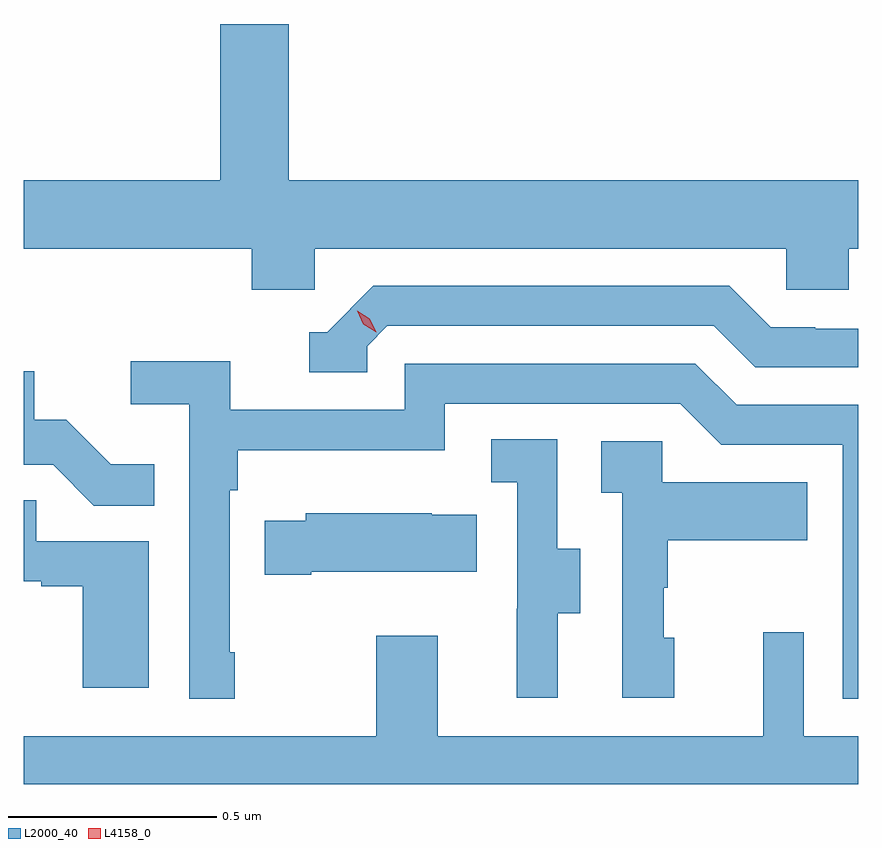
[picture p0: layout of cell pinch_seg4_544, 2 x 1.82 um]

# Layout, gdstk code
import gdstk
lib = gdstk.Library(unit=1e-6, precision=1e-09)
def P(c, l, *ps):  # polygons
    for p in ps: c.add(gdstk.Polygon(p, *l))
L2000_40 = (2000, 40)
L4158_0 = (4158, 0)

pinch_seg4_544 = lib.new_cell('pinch_seg4_544')
P(pinch_seg4_544, L2000_40, [(1124.274,788.828),(1125.405,788.828),(1125.405,788.73),(1125.555,788.73),(1125.555,788.828),(1125.577,788.828),(1125.577,788.992),(1124.212,788.992),(1124.212,789.367),(1124.048,789.367),(1124.048,788.992),(1123.577,788.992),(1123.577,788.828),(1124.123,788.828),(1124.123,788.73),(1124.274,788.73)],
  [(1124.4,788.595),(1124.448,788.643),(1125.231,788.643),(1125.33,788.544),(1125.577,788.544),(1125.577,788.637),(1125.474,788.637),(1125.474,788.64),(1125.367,788.64),(1125.268,788.739),(1124.415,788.739),(1124.304,788.628),(1124.261,788.628),(1124.261,788.532),(1124.4,788.532)],
  [(1124.083,787.861),(1124.07,787.861),(1124.07,788.249),(1124.09,788.249),(1124.09,788.345),(1124.586,788.345),(1124.586,788.457),(1125.15,788.457),(1125.249,788.358),(1125.54,788.358),(1125.54,787.749),(1125.577,787.749),(1125.577,788.454),(1125.286,788.454),(1125.187,788.553),(1124.49,788.553),(1124.49,788.442),(1124.072,788.442),(1124.072,788.558),(1123.833,788.558),(1123.833,788.456),(1123.974,788.456),(1123.974,787.749),(1124.083,787.749)],
  [(1123.889,788.311),(1123.785,788.311),(1123.678,788.418),(1123.602,788.418),(1123.602,788.535),(1123.577,788.535),(1123.577,788.31),(1123.647,788.31),(1123.745,788.212),(1123.889,788.212)],
  [(1124.857,787.954),(1124.911,787.954),(1124.911,788.109),(1124.856,788.109),(1124.856,788.372),(1124.697,788.372),(1124.697,788.269),(1124.76,788.269),(1124.76,787.965),(1124.759,787.965),(1124.759,787.752),(1124.857,787.752)],
  [(1125.136,787.896),(1125.111,787.896),(1125.111,788.015),(1125.121,788.015),(1125.121,788.129),(1125.455,788.129),(1125.455,788.269),(1125.108,788.269),(1125.108,788.367),(1124.961,788.367),(1124.961,788.243),(1125.012,788.243),(1125.012,787.752),(1125.136,787.752)],
  [(1123.876,788.127),(1123.607,788.127),(1123.607,788.225),(1123.577,788.225),(1123.577,788.031),(1123.619,788.031),(1123.619,788.019),(1123.718,788.019),(1123.718,787.776),(1123.876,787.776)],
  [(1124.266,788.054),(1124.663,788.054),(1124.663,788.191),(1124.555,788.191),(1124.555,788.194),(1124.253,788.194),(1124.253,788.176),(1124.155,788.176),(1124.155,788.047),(1124.266,788.047)],
  [(1125.577,787.66),(1125.447,787.66),(1125.447,787.909),(1125.35,787.909),(1125.35,787.66),(1124.569,787.66),(1124.569,787.9),(1124.422,787.9),(1124.422,787.66),(1123.577,787.66),(1123.577,787.545),(1125.577,787.545)])
P(pinch_seg4_544, L4158_0, [(1124.422,788.628),(1124.391,788.647),(1124.376,788.679),(1124.376,788.68),(1124.376,788.68),(1124.406,788.66),(1124.422,788.628),(1124.422,788.628)])

lib.write_gds('pinch_seg4_544.gds')
